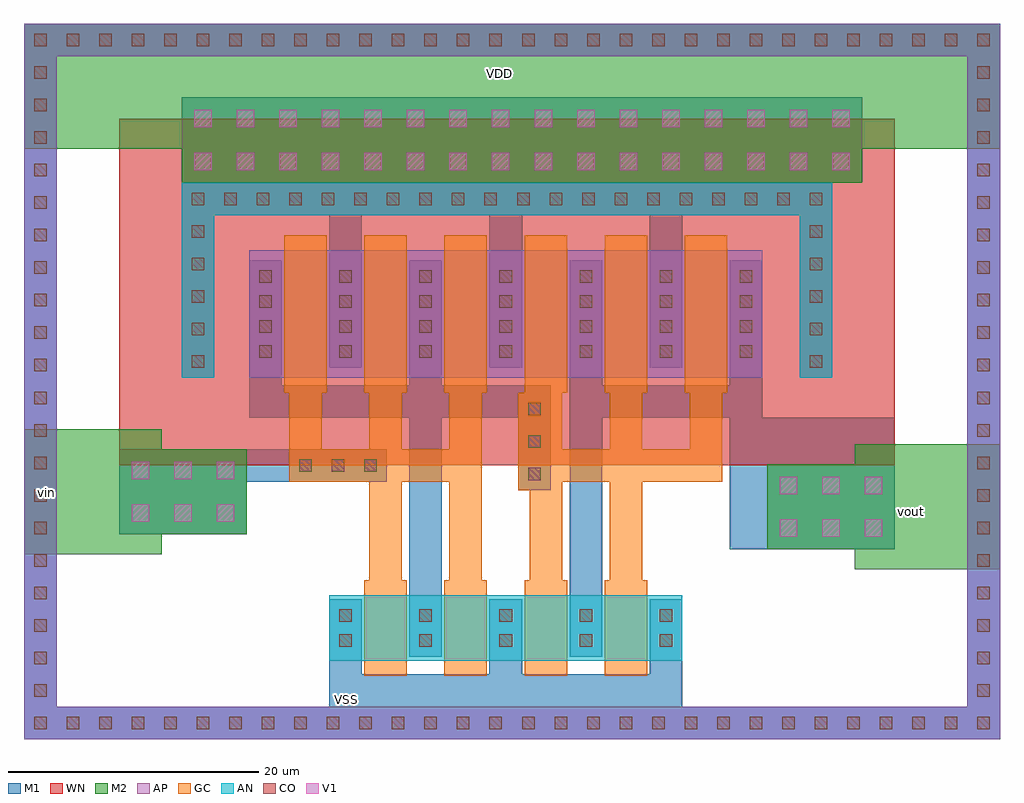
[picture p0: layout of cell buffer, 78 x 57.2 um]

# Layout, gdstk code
import gdstk
lib = gdstk.Library(unit=1e-6, precision=1e-07)
def R(c, l, rs):  # rectangles x0, y0, x1, y1
    for r in rs: c.add(gdstk.rectangle(r[:2], r[2:], *l))
def A(c, l, x, y, w, h, nx, ny, dx, dy):  # array of equal rectangles
    R(c, l, [(x+i*dx, y+j*dy, x+i*dx+w, y+j*dy+h) for i in range(nx) for j in range(ny)])
AP = (3, 1)
AN = (3, 2)
GC = (8, 1)
CO = (11, 0)
M1 = (13, 0)
V1 = (19, 0)
M2 = (20, 0)
WN = (140, 0)

fet_p = lib.new_cell('fet_p')
R(fet_p, AP, [(-10.9,-5.1,10.9,5.1)])
A(fet_p, CO, -10.1, -3.5, 1, 1, 4, 4, 6.4, 2)
A(fet_p, M1, -10.9, -4.3, 2.6, 8.6, 4, 1, 6.4, 0)
fet_p.add(gdstk.FlexPath([(0,-6.3),(0,6.3)], 3.4, ends="flush", simple_path=True, layer=8, datatype=1))  # GC
fet_p.add(gdstk.FlexPath([(-6.4,-6.3),(-6.4,6.3)], 3.4, ends="flush", simple_path=True, layer=8, datatype=1))  # GC
fet_p.add(gdstk.FlexPath([(6.4,-6.3),(6.4,6.3)], 3.4, ends="flush", simple_path=True, layer=8, datatype=1))  # GC

fet_n = lib.new_cell('fet_n')
R(fet_n, AN, [(-7.7,-2.6,7.7,2.6)])
A(fet_n, CO, -6.9, -1.5, 1, 1, 3, 2, 6.4, 2)
A(fet_n, M1, -7.7, -2.3, 2.6, 4.6, 3, 1, 6.4, 0)
fet_n.add(gdstk.FlexPath([(3.2,-3.8),(3.2,3.8)], 3.4, ends="flush", simple_path=True, layer=8, datatype=1))  # GC
fet_n.add(gdstk.FlexPath([(-3.2,-3.8),(-3.2,3.8)], 3.4, ends="flush", simple_path=True, layer=8, datatype=1))  # GC

cont_n = lib.new_cell('cont_n')
R(cont_n, AN, [(-1.3,-1.3,1.3,1.3)])
R(cont_n, CO, [(-0.5,-0.5,0.5,0.5)])
R(cont_n, M1, [(-1.3,-1.3,1.3,1.3)])

via_1 = lib.new_cell('via_1')
R(via_1, M1, [(-1.7,-1.7,1.7,1.7)])
R(via_1, V1, [(-0.7,-0.7,0.7,0.7)])
R(via_1, M2, [(-1.7,-1.7,1.7,1.7)])

cont_p = lib.new_cell('cont_p')
R(cont_p, AP, [(-1.3,-1.3,1.3,1.3)])
R(cont_p, CO, [(-0.5,-0.5,0.5,0.5)])
R(cont_p, M1, [(-1.3,-1.3,1.3,1.3)])

cont_g = lib.new_cell('cont_g')
R(cont_g, GC, [(-1.3,-1.3,1.3,1.3)])
R(cont_g, CO, [(-0.5,-0.5,0.5,0.5)])
R(cont_g, M1, [(-1.3,-1.3,1.3,1.3)])

buffer = lib.new_cell('buffer')
R(buffer, M1, [(28.3,-19,41.5,-8.5)])
R(buffer, WN, [(-20.5,-12.3,41.5,15.4)])
buffer.add(gdstk.FlexPath([(10.4,4.1),(10.4,15.5)], 2.6, ends="flush", simple_path=True, layer=13, datatype=0))  # M1
buffer.add(gdstk.FlexPath([(16.5,-7.2),(30,-7.2)], 2.6, ends="flush", simple_path=True, layer=13, datatype=0))  # M1
buffer.add(gdstk.FlexPath([(16.8,-4.5),(16.8,-8.5)], 2.6, ends="flush", simple_path=True, layer=13, datatype=0))  # M1
buffer.add(gdstk.FlexPath([(29.6,-4.5),(29.6,-8.5)], 2.6, ends="flush", simple_path=True, layer=13, datatype=0))  # M1
buffer.add(gdstk.FlexPath([(-9.1,-7.2),(4.4,-7.2)], 2.6, ends="flush", simple_path=True, layer=13, datatype=0))  # M1
buffer.add(gdstk.FlexPath([(-8.8,-4.5),(-8.8,-8.5)], 2.6, ends="flush", simple_path=True, layer=13, datatype=0))  # M1
buffer.add(gdstk.FlexPath([(4,-4.5),(4,-8.5)], 2.6, ends="flush", simple_path=True, layer=13, datatype=0))  # M1
buffer.add(gdstk.FlexPath([(10.4,-27.3),(10.4,-33.8)], 2.6, ends="flush", simple_path=True, layer=13, datatype=0))  # M1
buffer.add(gdstk.FlexPath([(16.8,-8.4),(16.8,-23)], 2.6, ends="flush", simple_path=True, layer=13, datatype=0))  # M1
buffer.add(gdstk.FlexPath([(4,-7.2),(12.7,-7.2),(12.7,-14.3)], 2.6, ends="flush", simple_path=True, layer=13, datatype=0))  # M1
buffer.add(gdstk.FlexPath([(4,-8.2),(4,-23)], 2.6, ends="flush", simple_path=True, layer=13, datatype=0))  # M1
buffer.add(gdstk.FlexPath([(0.9,-12.3),(-20.5,-12.3)], 2.6, ends="flush", simple_path=True, layer=13, datatype=0))  # M1
buffer.add(gdstk.FlexPath([(-2.4,-27.6),(-2.4,-31.6)], 2.6, ends="flush", simple_path=True, layer=13, datatype=0))  # M1
buffer.add(gdstk.FlexPath([(23.2,-27.6),(23.2,-31.6)], 2.6, ends="flush", simple_path=True, layer=13, datatype=0))  # M1
buffer.add(gdstk.FlexPath([(-2.5,-30.3),(23.3,-30.3)], 2.6, ends="flush", simple_path=True, layer=13, datatype=0))  # M1
buffer.add(gdstk.FlexPath([(-2.4,8.1),(-2.4,4.1)], 2.6, ends="flush", simple_path=True, layer=13, datatype=0))  # M1
buffer.add(gdstk.FlexPath([(23.2,8.1),(23.2,4.1)], 2.6, ends="flush", simple_path=True, layer=13, datatype=0))  # M1
buffer.add(gdstk.FlexPath([(7.2,-6.5),(7.2,-21.6)], 2.6, ends="flush", simple_path=True, layer=8, datatype=1))  # GC
buffer.add(gdstk.FlexPath([(0.8,-21.6),(0.8,-6.5)], 2.6, ends="flush", simple_path=True, layer=8, datatype=1))  # GC
buffer.add(gdstk.FlexPath([(8.5,-12.3),(-5.6,-12.3),(-5.6,-6.5)], 2.6, ends="flush", simple_path=True, layer=8, datatype=1))  # GC
buffer.add(gdstk.FlexPath([(13.6,-6.5),(13.6,-21.6)], 2.6, ends="flush", simple_path=True, layer=8, datatype=1))  # GC
buffer.add(gdstk.FlexPath([(20,-6.5),(20,-21.6)], 2.6, ends="flush", simple_path=True, layer=8, datatype=1))  # GC
buffer.add(gdstk.FlexPath([(12.3,-12.3),(26.4,-12.3),(26.4,-6.5)], 2.6, ends="flush", simple_path=True, layer=8, datatype=1))  # GC
buffer.add(gdstk.FlexPath([(38.3,-15.6),(49.9,-15.6)], 10, ends="flush", simple_path=True, layer=20, datatype=0))  # M2
buffer.add(gdstk.FlexPath([(-17.1,-14.4),(-28.1,-14.4)], 10, ends="flush", simple_path=True, layer=20, datatype=0))  # M2
buffer.add(gdstk.FlexPath([(-28.1,18),(49.9,18)], 10, ends="flush", simple_path=True, layer=20, datatype=0))  # M2
buffer.add(gdstk.Reference(fet_p, (0.8,-0.2)))
buffer.add(gdstk.Reference(fet_p, (20,-0.2)))
buffer.add(gdstk.Reference(fet_n, (4,-25.3)))
buffer.add(gdstk.Reference(fet_n, (16.8,-25.3)))
buffer.add(gdstk.Reference(cont_n, (11.8,9)))
buffer.add(gdstk.Reference(via_1, (10,12)))
buffer.add(gdstk.Reference(via_1, (10,15.4)))
buffer.add(gdstk.Reference(cont_n, (17,9)))
buffer.add(gdstk.Reference(cont_n, (19.6,9)))
buffer.add(gdstk.Reference(cont_n, (22.2,9)))
buffer.add(gdstk.Reference(cont_n, (24.8,9)))
buffer.add(gdstk.Reference(cont_n, (27.4,9)))
buffer.add(gdstk.Reference(cont_n, (30,9)))
buffer.add(gdstk.Reference(cont_n, (32.6,9)))
buffer.add(gdstk.Reference(cont_n, (35.2,9)))
buffer.add(gdstk.Reference(cont_n, (35.2,3.8)))
buffer.add(gdstk.Reference(cont_n, (35.2,1.2)))
buffer.add(gdstk.Reference(cont_n, (35.2,-1.4)))
buffer.add(gdstk.Reference(cont_n, (35.2,-4)))
buffer.add(gdstk.Reference(cont_p, (12.2,21.7)))
buffer.add(gdstk.Reference(cont_p, (14.8,21.7)))
buffer.add(gdstk.Reference(cont_p, (17.4,21.7)))
buffer.add(gdstk.Reference(cont_p, (20,21.7)))
buffer.add(gdstk.Reference(cont_p, (22.6,21.7)))
buffer.add(gdstk.Reference(cont_p, (25.2,21.7)))
buffer.add(gdstk.Reference(cont_p, (27.8,21.7)))
buffer.add(gdstk.Reference(cont_p, (30.4,21.7)))
buffer.add(gdstk.Reference(cont_p, (33,21.7)))
buffer.add(gdstk.Reference(cont_p, (35.6,21.7)))
buffer.add(gdstk.Reference(cont_p, (38.2,21.7)))
buffer.add(gdstk.Reference(cont_p, (40.8,21.7)))
buffer.add(gdstk.Reference(cont_p, (43.4,21.7)))
buffer.add(gdstk.Reference(cont_p, (46,21.7)))
buffer.add(gdstk.Reference(cont_p, (48.6,19.1)))
buffer.add(gdstk.Reference(cont_p, (48.6,16.5)))
buffer.add(gdstk.Reference(cont_p, (48.6,13.9)))
buffer.add(gdstk.Reference(cont_p, (48.6,11.3)))
buffer.add(gdstk.Reference(cont_p, (48.6,8.7)))
buffer.add(gdstk.Reference(cont_p, (48.6,6.1)))
buffer.add(gdstk.Reference(cont_p, (48.6,3.5)))
buffer.add(gdstk.Reference(cont_p, (48.6,0.9)))
buffer.add(gdstk.Reference(cont_p, (48.6,-1.7)))
buffer.add(gdstk.Reference(cont_p, (48.6,-4.3)))
buffer.add(gdstk.Reference(cont_p, (48.6,21.7)))
buffer.add(gdstk.Reference(cont_n, (35.2,6.4)))
buffer.add(gdstk.Reference(via_1, (13.4,12)))
buffer.add(gdstk.Reference(via_1, (16.8,12)))
buffer.add(gdstk.Reference(via_1, (20.2,12)))
buffer.add(gdstk.Reference(via_1, (23.6,12)))
buffer.add(gdstk.Reference(via_1, (27,12)))
buffer.add(gdstk.Reference(via_1, (30.4,12)))
buffer.add(gdstk.Reference(via_1, (33.8,12)))
buffer.add(gdstk.Reference(via_1, (37.2,12)))
buffer.add(gdstk.Reference(cont_n, (14.4,9)))
buffer.add(gdstk.Reference(via_1, (13.4,15.4)))
buffer.add(gdstk.Reference(via_1, (16.8,15.4)))
buffer.add(gdstk.Reference(via_1, (20.2,15.4)))
buffer.add(gdstk.Reference(via_1, (23.6,15.4)))
buffer.add(gdstk.Reference(via_1, (27,15.4)))
buffer.add(gdstk.Reference(via_1, (30.4,15.4)))
buffer.add(gdstk.Reference(via_1, (33.8,15.4)))
buffer.add(gdstk.Reference(via_1, (37.2,15.4)))
buffer.add(gdstk.Reference(cont_n, (-1.2,9)))
buffer.add(gdstk.Reference(cont_n, (1.4,9)))
buffer.add(gdstk.Reference(cont_n, (4,9)))
buffer.add(gdstk.Reference(cont_n, (6.6,9)))
buffer.add(gdstk.Reference(cont_n, (-14.2,6.4)))
buffer.add(gdstk.Reference(cont_n, (-14.2,3.8)))
buffer.add(gdstk.Reference(cont_p, (-26.8,19.1)))
buffer.add(gdstk.Reference(cont_n, (-14.2,-1.4)))
buffer.add(gdstk.Reference(cont_n, (-14.2,-4)))
buffer.add(gdstk.Reference(cont_p, (-26.8,21.7)))
buffer.add(gdstk.Reference(cont_p, (-26.8,16.5)))
buffer.add(gdstk.Reference(cont_p, (-26.8,13.9)))
buffer.add(gdstk.Reference(cont_n, (9.2,9)))
buffer.add(gdstk.Reference(cont_n, (-14.2,1.2)))
buffer.add(gdstk.Reference(cont_n, (-14.2,9)))
buffer.add(gdstk.Reference(cont_n, (-11.6,9)))
buffer.add(gdstk.Reference(cont_p, (-26.8,11.3)))
buffer.add(gdstk.Reference(cont_p, (-26.8,8.7)))
buffer.add(gdstk.Reference(cont_p, (-26.8,6.1)))
buffer.add(gdstk.Reference(cont_p, (-26.8,3.5)))
buffer.add(gdstk.Reference(cont_p, (-26.8,0.9)))
buffer.add(gdstk.Reference(via_1, (-13.8,12)))
buffer.add(gdstk.Reference(via_1, (-13.8,15.4)))
buffer.add(gdstk.Reference(cont_p, (-26.8,-1.7)))
buffer.add(gdstk.Reference(via_1, (-10.4,12)))
buffer.add(gdstk.Reference(via_1, (-7,12)))
buffer.add(gdstk.Reference(via_1, (-3.6,12)))
buffer.add(gdstk.Reference(via_1, (-0.2,12)))
buffer.add(gdstk.Reference(via_1, (3.2,12)))
buffer.add(gdstk.Reference(via_1, (6.6,12)))
buffer.add(gdstk.Reference(cont_p, (-26.8,-4.3)))
buffer.add(gdstk.Reference(cont_p, (-24.2,21.7)))
buffer.add(gdstk.Reference(cont_p, (-21.6,21.7)))
buffer.add(gdstk.Reference(cont_p, (-19,21.7)))
buffer.add(gdstk.Reference(cont_p, (-16.4,21.7)))
buffer.add(gdstk.Reference(cont_p, (-13.8,21.7)))
buffer.add(gdstk.Reference(cont_p, (-11.2,21.7)))
buffer.add(gdstk.Reference(cont_p, (-8.6,21.7)))
buffer.add(gdstk.Reference(cont_p, (-6,21.7)))
buffer.add(gdstk.Reference(via_1, (-10.4,15.4)))
buffer.add(gdstk.Reference(via_1, (-7,15.4)))
buffer.add(gdstk.Reference(via_1, (-3.6,15.4)))
buffer.add(gdstk.Reference(via_1, (-0.2,15.4)))
buffer.add(gdstk.Reference(via_1, (3.2,15.4)))
buffer.add(gdstk.Reference(via_1, (6.6,15.4)))
buffer.add(gdstk.Reference(cont_p, (-3.4,21.7)))
buffer.add(gdstk.Reference(cont_p, (-0.8,21.7)))
buffer.add(gdstk.Reference(cont_p, (1.8,21.7)))
buffer.add(gdstk.Reference(cont_p, (4.4,21.7)))
buffer.add(gdstk.Reference(cont_p, (7,21.7)))
buffer.add(gdstk.Reference(cont_p, (9.6,21.7)))
buffer.add(gdstk.Reference(cont_n, (-9,9)))
buffer.add(gdstk.Reference(cont_n, (-6.4,9)))
buffer.add(gdstk.Reference(cont_n, (-3.8,9)))
buffer.add(gdstk.Reference(via_1, (-18.8,-16.1)))
buffer.add(gdstk.Reference(cont_p, (-26.8,-6.9)))
buffer.add(gdstk.Reference(cont_p, (-26.8,-9.5)))
buffer.add(gdstk.Reference(cont_p, (-26.8,-12.1)))
buffer.add(gdstk.Reference(cont_p, (-26.8,-14.7)))
buffer.add(gdstk.Reference(cont_p, (-26.8,-17.3)))
buffer.add(gdstk.Reference(cont_p, (-26.8,-19.9)))
buffer.add(gdstk.Reference(cont_p, (-26.8,-22.5)))
buffer.add(gdstk.Reference(cont_p, (-16.4,-32.9)))
buffer.add(gdstk.Reference(cont_p, (-13.8,-32.9)))
buffer.add(gdstk.Reference(cont_p, (-11.2,-32.9)))
buffer.add(gdstk.Reference(cont_p, (-8.6,-32.9)))
buffer.add(gdstk.Reference(cont_p, (-6,-32.9)))
buffer.add(gdstk.Reference(cont_p, (-3.4,-32.9)))
buffer.add(gdstk.Reference(cont_p, (-0.8,-32.9)))
buffer.add(gdstk.Reference(cont_p, (1.8,-32.9)))
buffer.add(gdstk.Reference(cont_p, (4.4,-32.9)))
buffer.add(gdstk.Reference(cont_p, (7,-32.9)))
buffer.add(gdstk.Reference(cont_p, (9.6,-32.9)))
buffer.add(gdstk.Reference(cont_p, (-26.8,-25.1)))
buffer.add(gdstk.Reference(cont_p, (-26.8,-27.7)))
buffer.add(gdstk.Reference(cont_p, (-26.8,-30.3)))
buffer.add(gdstk.Reference(cont_p, (-26.8,-32.9)))
buffer.add(gdstk.Reference(cont_p, (-21.6,-32.9)))
buffer.add(gdstk.Reference(cont_p, (-19,-32.9)))
buffer.add(gdstk.Reference(cont_g, (-0.4,-12.3)))
buffer.add(gdstk.Reference(cont_g, (-5.6,-12.3)))
buffer.add(gdstk.Reference(cont_p, (-24.2,-32.9)))
buffer.add(gdstk.Reference(cont_g, (-3,-12.3)))
buffer.add(gdstk.Reference(via_1, (-12,-12.7)))
buffer.add(gdstk.Reference(via_1, (-15.4,-12.7)))
buffer.add(gdstk.Reference(via_1, (-15.4,-16.1)))
buffer.add(gdstk.Reference(via_1, (-12,-16.1)))
buffer.add(gdstk.Reference(via_1, (-18.8,-12.7)))
buffer.add(gdstk.Reference(cont_p, (46,-32.9)))
buffer.add(gdstk.Reference(cont_g, (12.7,-10.4)))
buffer.add(gdstk.Reference(cont_g, (12.7,-7.8)))
buffer.add(gdstk.Reference(cont_p, (48.6,-32.9)))
buffer.add(gdstk.Reference(cont_g, (12.7,-13)))
buffer.add(gdstk.Reference(cont_p, (12.2,-32.9)))
buffer.add(gdstk.Reference(cont_p, (14.8,-32.9)))
buffer.add(gdstk.Reference(cont_p, (17.4,-32.9)))
buffer.add(gdstk.Reference(cont_p, (20,-32.9)))
buffer.add(gdstk.Reference(cont_p, (22.6,-32.9)))
buffer.add(gdstk.Reference(cont_p, (25.2,-32.9)))
buffer.add(gdstk.Reference(cont_p, (27.8,-32.9)))
buffer.add(gdstk.Reference(cont_p, (48.6,-6.9)))
buffer.add(gdstk.Reference(cont_p, (48.6,-9.5)))
buffer.add(gdstk.Reference(cont_p, (48.6,-12.1)))
buffer.add(gdstk.Reference(cont_p, (48.6,-14.7)))
buffer.add(gdstk.Reference(cont_p, (48.6,-17.3)))
buffer.add(gdstk.Reference(cont_p, (48.6,-19.9)))
buffer.add(gdstk.Reference(cont_p, (48.6,-22.5)))
buffer.add(gdstk.Reference(cont_p, (48.6,-25.1)))
buffer.add(gdstk.Reference(cont_p, (48.6,-27.7)))
buffer.add(gdstk.Reference(cont_p, (48.6,-30.3)))
buffer.add(gdstk.Reference(via_1, (39.8,-13.9)))
buffer.add(gdstk.Reference(via_1, (36.4,-13.9)))
buffer.add(gdstk.Reference(via_1, (36.4,-17.3)))
buffer.add(gdstk.Reference(via_1, (39.8,-17.3)))
buffer.add(gdstk.Reference(via_1, (33,-13.9)))
buffer.add(gdstk.Reference(via_1, (33,-17.3)))
buffer.add(gdstk.Reference(cont_p, (30.4,-32.9)))
buffer.add(gdstk.Reference(cont_p, (33,-32.9)))
buffer.add(gdstk.Reference(cont_p, (35.6,-32.9)))
buffer.add(gdstk.Reference(cont_p, (38.2,-32.9)))
buffer.add(gdstk.Reference(cont_p, (40.8,-32.9)))
buffer.add(gdstk.Reference(cont_p, (43.4,-32.9)))
buffer.add(gdstk.Label('VSS', (-2.3,-31), layer=48, texttype=0))
buffer.add(gdstk.Label('vout', (42.8,-16), layer=49, texttype=0))
buffer.add(gdstk.Label('vin', (-26.3,-14.5), layer=49, texttype=0))
buffer.add(gdstk.Label('VDD', (9.9,19), layer=49, texttype=0))

lib.write_gds('buffer.gds')
